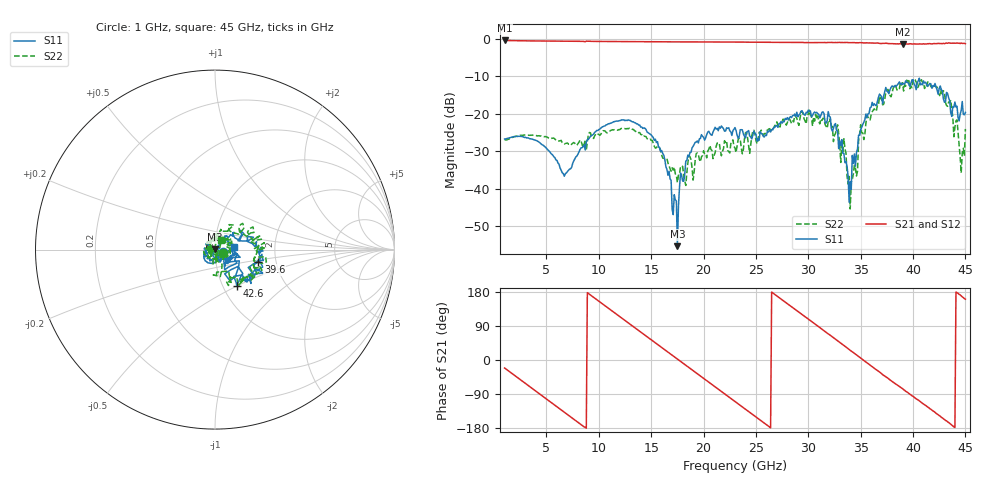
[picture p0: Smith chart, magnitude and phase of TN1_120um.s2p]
!Keysight Technologies,N5247B,MY61255062,A.19.80.06
!Date: Monday, May 18, 2026 12:47:03
!Correction: S11(Cdelta 2-Port  )
!S21(Cdelta 2-Port  )
!S12(Cdelta 2-Port  )
!S22(Cdelta 2-Port  )
!S2P File: Measurements: S11, S21, S12, S22:
# Hz S  dB  R 50
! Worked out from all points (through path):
!   441 points, 1 GHz to 45 GHz, reference 50 ohm
!   highest |S21| = -0.41 dB at 1 GHz (marker M1); lowest = -1.4 dB at 39 GHz (marker M2)
!   group delay of S21, straight-line fit = 56.6 ps
!   lowest |S11| = -55.3 dB at 17.5 GHz (marker M3), VSWR 1.00, Z = 50 + j0.172 ohm
!   |S11| at or under -10 dB: start of sweep to end of sweep
!   |S22| runs from -45.4 to -10.6 dB; largest |S21 - S12| = 0.017
!   S11 on the Smith chart (normalised r, x): 1 GHz: 1.09, -0.03; 39.6 GHz: 1.62, -0.24; 42.6 GHz: 1.16, -0.50; 45 GHz: 1.23, +0.03
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1e9  -26.69 -19.4  -0.41 -21.1  -0.40 -21.1  -26.94 -21.4
4.6e9  -28.26 -103.1  -0.56 -94.7  -0.56 -94.7  -26.01 -101.8
6.7e9  -36.62 -102.2  -0.60 -137.5  -0.60 -137.5  -28.06 -123.2
8.4e9  -29.01 -60.1  -0.63 -172.4  -0.63 -172.4  -28.13 -116.1
1.23e10  -21.63 -118.8  -0.75 108.4  -0.75 108.5  -23.80 -155.6
1.57e10  -28.86 174.2  -0.76 39.2  -0.76 39.2  -28.61 156.3
1.75e10  -55.28 89.2  -0.79 2.6  -0.79 2.6  -38.30 174.7
1.91e10  -28.11 -55.3  -0.80 -29.9  -0.79 -29.8  -35.38 -162.8
2.3e10  -23.65 -142.5  -0.84 -109.6  -0.83 -109.5  -29.11 165.1
2.66e10  -24.26 72.1  -0.91 177.1  -0.89 177.1  -24.07 92.2
3.04e10  -20.42 -24.6  -0.95 99.8  -0.95 99.8  -23.26 12.1
3.27e10  -24.48 -41.0  -0.97 52.8  -0.97 52.6  -23.80 -57.4
3.34e10  -30.52 -63.2  -0.96 38.4  -0.94 38.2  -26.63 -81.2
3.39e10  -43.56 -111.4  -1.00 27.8  -0.95 27.8  -36.69 -123.7
3.53e10  -22.25 43.7  -1.07 -1.3  -1.04 -1.1  -26.84 86.8
3.77e10  -14.60 14.1  -1.25 -50.4  -1.23 -50.2  -14.04 44.4
3.9e10  -12.14 -5.5  -1.40 -75.6  -1.33 -75.9  -11.69 16.8
3.96e10  -11.98 -15.7  -1.35 -88.2  -1.35 -88.3  -11.13 8.0
4.26e10  -12.55 -59.1  -1.22 -148.2  -1.23 -148.0  -15.37 -59.0
4.36e10  -19.72 -41.9  -1.15 -169.3  -1.16 -169.4  -16.31 -78.8
4.47e10  -16.70 -17.0  -1.19 166.6  -1.18 167.2  -30.45 -129.7
4.5e10  -19.61 7.3  -1.28 160.4  -1.18 160.3  -24.01 55.0
